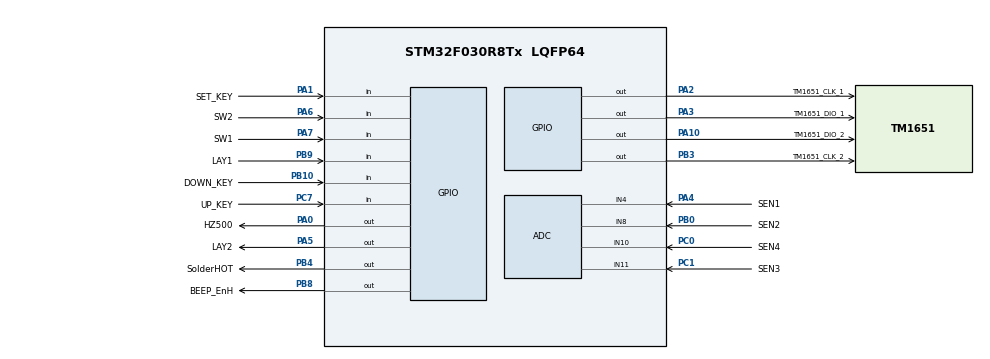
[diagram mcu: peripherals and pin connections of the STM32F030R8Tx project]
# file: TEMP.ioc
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Mcu.Family=STM32F0
Mcu.Name=STM32F030R8Tx
Mcu.Package=LQFP64
PA0.GPIO_Label=HZ500
PA0.Signal=GPIO_Output
PA1.GPIO_Label=SET_KEY
PA1.Signal=GPIO_Input
PA10.GPIO_Label=TM1651_DIO_2
PA10.Signal=GPIO_Output
PA2.GPIO_Label=TM1651_CLK_1
PA2.Signal=GPIO_Output
PA3.GPIO_Label=TM1651_DIO_1
PA3.Signal=GPIO_Output
PA4.GPIO_Label=SEN1
PA4.Mode=IN4
PA4.Signal=ADC_IN4
PA5.GPIO_Label=LAY2
PA5.Signal=GPIO_Output
PA6.GPIO_Label=SW2
PA6.Signal=GPIO_Input
PA7.GPIO_Label=SW1
PA7.Signal=GPIO_Input
PA8.GPIO_Label=AirHOT
PA8.Signal=S_TIM1_CH1
PB0.GPIO_Label=SEN2
PB0.Mode=IN8
PB0.Signal=ADC_IN8
PB10.GPIO_Label=DOWN_KEY
PB10.Signal=GPIO_Input
PB3.GPIO_Label=TM1651_CLK_2
PB3.Signal=GPIO_Output
PB4.GPIO_Label=SolderHOT
PB4.Signal=GPIO_Output
PB8.GPIO_Label=BEEP_EnH
PB8.Signal=GPIO_Output
PB9.GPIO_Label=LAY1
PB9.Signal=GPIO_Input
PC0.GPIO_Label=SEN4
PC0.Mode=IN10
PC0.Signal=ADC_IN10
PC1.GPIO_Label=SEN3
PC1.Mode=IN11
PC1.Signal=ADC_IN11
PC7.GPIO_Label=UP_KEY
PC7.Signal=GPIO_Input
ProjectManager.HeapSize=0x200
ProjectManager.StackSize=0x400
ProjectManager.TargetToolchain=MDK-ARM V5
SH.S_TIM1_CH1.0=TIM1_CH1
board=TEMP

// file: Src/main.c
/**
  ******************************************************************************
  * File Name          : main.c
  * Description        : Main program body
  ******************************************************************************
  *
  * COPYRIGHT(c) 2016 STMicroelectronics
  *
  * Redistribution and use in source and binary forms, with or without modification,
  * are permitted provided that the following conditions are met:
  *   1. Redistributions of source code must retain the above copyright notice,
  *      this list of conditions and the following disclaimer.
  *   2. Redistributions in binary form must reproduce the above copyright notice,
  *      this list of conditions and the following disclaimer in the documentation
  *      and/or other materials provided with the distribution.
  *   3. Neither the name of STMicroelectronics nor the names of its contributors
  *      may be used to endorse or promote products derived from this software
  *      without specific prior written permission.
  *
  * THIS SOFTWARE IS PROVIDED BY THE COPYRIGHT HOLDERS AND CONTRIBUTORS "AS IS"
  * AND ANY EXPRESS OR IMPLIED WARRANTIES, INCLUDING, BUT NOT LIMITED TO, THE
  * IMPLIED WARRANTIES OF MERCHANTABILITY AND FITNESS FOR A PARTICULAR PURPOSE ARE
  * DISCLAIMED. IN NO EVENT SHALL THE COPYRIGHT HOLDER OR CONTRIBUTORS BE LIABLE
  * FOR ANY DIRECT, INDIRECT, INCIDENTAL, SPECIAL, EXEMPLARY, OR CONSEQUENTIAL
  * DAMAGES (INCLUDING, BUT NOT LIMITED TO, PROCUREMENT OF SUBSTITUTE GOODS OR
  * SERVICES; LOSS OF USE, DATA, OR PROFITS; OR BUSINESS INTERRUPTION) HOWEVER
  * CAUSED AND ON ANY THEORY OF LIABILITY, WHETHER IN CONTRACT, STRICT LIABILITY,
  * OR TORT (INCLUDING NEGLIGENCE OR OTHERWISE) ARISING IN ANY WAY OUT OF THE USE
  * OF THIS SOFTWARE, EVEN IF ADVISED OF THE POSSIBILITY OF SUCH DAMAGE.
  *
  ******************************************************************************
  */
#include "main.h"
#include "stm32f0xx_hal.h"
#include "adc.h"
#include "gpio.h"

/* USER CODE BEGIN Includes */
#include "../tool/msg_task.h"
#include "../cantor/hotterctrl.h"
#include "../tool/flash.h"
#include "../tool/adc_filter.h"
#include "../bsp/led.h"
/* USER CODE END Includes */

/* USER CODE BEGIN PV */
/* Private variables ---------------------------------------------------------*/

/* USER CODE END PV */

void SystemClock_Config(void);
void Error_Handler(void);

/* USER CODE BEGIN PFP */
/* Private function prototypes -----------------------------------------------*/

/* USER CODE END PFP */

int main(void)
{

  /* MCU Configuration----------------------------------------------------------*/

  /* Reset of all peripherals, Initializes the Flash interface and the Systick. */
  HAL_Init();

  /* Configure the system clock */
  SystemClock_Config();

  /* Initialize all configured peripherals */
  MX_GPIO_Init();
  MX_ADC_Init();

  /* USER CODE BEGIN 2 */

	//显示器属性初始化
	Tm1650_2_init();

	//按键属性初始化
 	Button_set_init();
	Button_up_init();
	Button_down_init();

	Hotter1321_init();

	//任务管理器初始化
 	TaskSystickInit();

	FlshPara_Init();

/*设置温度类型*/
	if (!HAL_GPIO_ReadPin(UP_KEY_GPIO_Port ,UP_KEY_Pin ))
	{
		HAL_Delay (10);
		if (!HAL_GPIO_ReadPin(UP_KEY_GPIO_Port ,UP_KEY_Pin ))
		{
			hotter1321 .temperature_type = 1;
		}
	}

	//AirK_init ();
	//Solder1321_init();
  /* USER CODE END 2 */

  /* Infinite loop */
  while (1)
  {

  /* USER CODE BEGIN 3 */
		TaskProcess(&task_systick );
		//AirKCtrl ();
		//Solder1321Ctrl ();
		static _Bool dir = 0;
		if (dir ==0)
		{
			if(solder1321 .button_set->continue_press_times >4000)
			{
				dir =1;
			}
		}
		else
		{
			solder1321.tm1650->Is_num =YES;
			solder1321.tm1650->num = & solder1321 .hotter ->target_temperature ;
			solder1321.tm1650->dot_run_en = NO;//跑灯效果
			solder1321.tm1650->bottom_dot_en = NO;//加热指示
			solder1321.tm1650->blink_en = YES;//闪烁显示
			HAL_Delay (2000);//延时时间，TaskProcess(&task_systick );  无法被执行。思路失败。需要将每个任务安排在定时器中断里面。
			while(dir)
			{

			}
		}

  }
  /* USER CODE END 3 */

}

/** System Clock Configuration
*/
void SystemClock_Config(void)
{

  RCC_OscInitTypeDef RCC_OscInitStruct;
  RCC_ClkInitTypeDef RCC_ClkInitStruct;

    /**Initializes the CPU, AHB and APB busses clocks
    */
  RCC_OscInitStruct.OscillatorType = RCC_OSCILLATORTYPE_HSI|RCC_OSCILLATORTYPE_HSI14;
  RCC_OscInitStruct.HSIState = RCC_HSI_ON;
  RCC_OscInitStruct.HSI14State = RCC_HSI14_ON;
  RCC_OscInitStruct.HSICalibrationValue = 16;
  RCC_OscInitStruct.HSI14CalibrationValue = 16;
  RCC_OscInitStruct.PLL.PLLState = RCC_PLL_NONE;
  if (HAL_RCC_OscConfig(&RCC_OscInitStruct) != HAL_OK)
  {
    Error_Handler();
  }

    /**Initializes the CPU, AHB and APB busses clocks
    */
  RCC_ClkInitStruct.ClockType = RCC_CLOCKTYPE_HCLK|RCC_CLOCKTYPE_SYSCLK
                              |RCC_CLOCKTYPE_PCLK1;
  RCC_ClkInitStruct.SYSCLKSource = RCC_SYSCLKSOURCE_HSI;
  RCC_ClkInitStruct.AHBCLKDivider = RCC_SYSCLK_DIV1;
  RCC_ClkInitStruct.APB1CLKDivider = RCC_HCLK_DIV1;

  if (HAL_RCC_ClockConfig(&RCC_ClkInitStruct, FLASH_LATENCY_0) != HAL_OK)
  {
    Error_Handler();
  }

    /**Configure the Systick interrupt time
    */
  HAL_SYSTICK_Config(HAL_RCC_GetHCLKFreq()/1000);

    /**Configure the Systick
    */
  HAL_SYSTICK_CLKSourceConfig(SYSTICK_CLKSOURCE_HCLK);

  /* SysTick_IRQn interrupt configuration */
  HAL_NVIC_SetPriority(SysTick_IRQn, 0, 0);
}

void Error_Handler(void)
{
  while(1)
  {
  }
}

/************************ (C) COPYRIGHT STMicroelectronics *****END OF FILE****/
